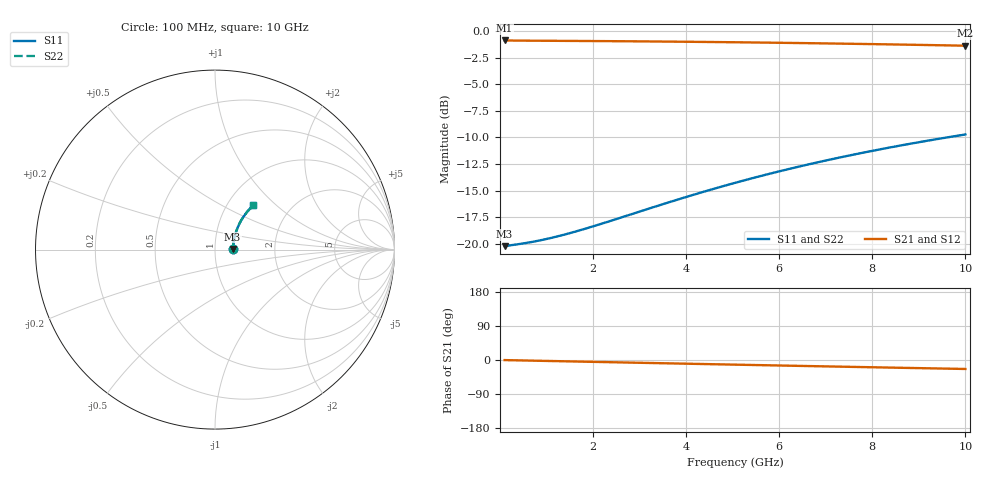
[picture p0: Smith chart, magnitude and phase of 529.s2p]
# Hz S RI R 50.00
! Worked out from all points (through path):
!   100 points, 100 MHz to 10 GHz, reference 50 ohm
!   highest |S21| = -0.89 dB at 100 MHz (marker M1); lowest = -1.4 dB at 10 GHz (marker M2)
!   group delay of S21, straight-line fit = 6.59 ps
!   lowest |S11| = -20.2 dB at 100 MHz (marker M3), VSWR 1.22, Z = 60.8 + j0.359 ohm
!   |S11| at or under -10 dB: start of sweep to 9.607 GHz
!   |S22| runs from -20.2 to -9.7 dB; largest |S21 - S12| = 0
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1e8  0.0975 0.00292  0.9025 -0.00388  0.9025 -0.00388  0.0975 0.00292
6e8  0.0998 0.0174  0.9001 -0.0232  0.9001 -0.0232  0.0998 0.0174
9e8  0.101 0.0261  0.899 -0.0347  0.899 -0.0347  0.101 0.0261
1.1e9  0.1018 0.0318  0.8981 -0.0423  0.8981 -0.0423  0.1018 0.0318
1.3e9  0.1027 0.0376  0.8972 -0.05  0.8972 -0.05  0.1027 0.0376
1.5e9  0.1036 0.0433  0.8962 -0.0576  0.8962 -0.0576  0.1036 0.0433
1.8e9  0.1052 0.0518  0.8946 -0.069  0.8946 -0.069  0.1052 0.0518
2.3e9  0.1082 0.0659  0.8916 -0.0879  0.8916 -0.0879  0.1082 0.0659
3.4e9  0.1166 0.0963  0.8829 -0.1288  0.8829 -0.1288  0.1166 0.0963
3.9e9  0.1212 0.1098  0.878 -0.147  0.878 -0.147  0.1212 0.1098
4.3e9  0.1253 0.1203  0.8738 -0.1614  0.8738 -0.1614  0.1253 0.1203
4.7e9  0.1297 0.1307  0.8692 -0.1756  0.8692 -0.1756  0.1297 0.1307
5.1e9  0.1345 0.1409  0.8642 -0.1897  0.8642 -0.1897  0.1345 0.1409
5.5e9  0.1395 0.1509  0.859 -0.2035  0.859 -0.2035  0.1395 0.1509
5.9e9  0.1449 0.1607  0.8534 -0.2171  0.8534 -0.2171  0.1449 0.1607
6.3e9  0.1505 0.1703  0.8475 -0.2305  0.8475 -0.2305  0.1505 0.1703
6.7e9  0.1564 0.1796  0.8414 -0.2437  0.8414 -0.2437  0.1564 0.1796
7.5e9  0.169 0.1975  0.8282 -0.2692  0.8282 -0.2692  0.169 0.1975
7.9e9  0.1757 0.206  0.8212 -0.2816  0.8212 -0.2816  0.1757 0.206
8.4e9  0.1844 0.2163  0.8122 -0.2968  0.8122 -0.2968  0.1844 0.2163
9.2e9  0.1989 0.2319  0.797 -0.3201  0.797 -0.3201  0.1989 0.2319
1e10  0.2142 0.2464  0.7809 -0.3422  0.7809 -0.3422  0.2142 0.2464
